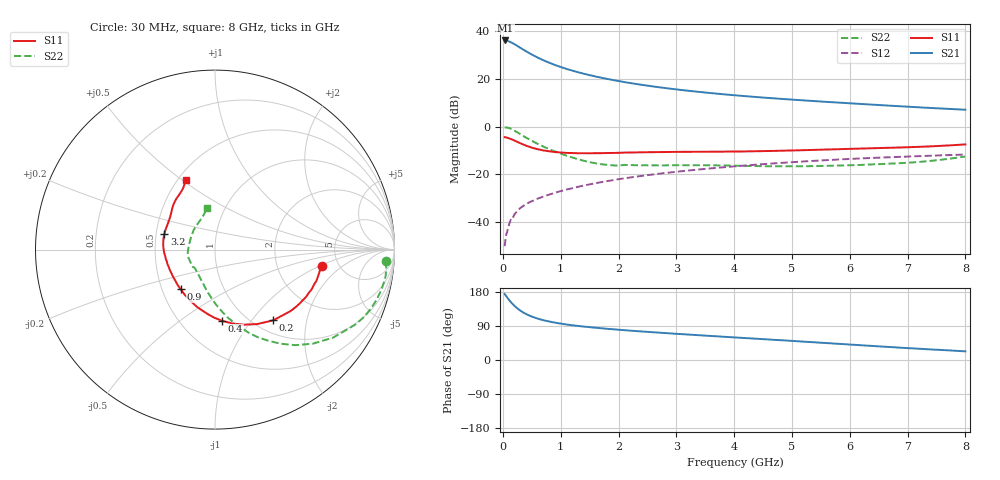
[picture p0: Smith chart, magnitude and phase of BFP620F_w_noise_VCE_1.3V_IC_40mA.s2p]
! Infineon Technologies  Discrete & RF Semiconductors
! BFP620F
! VCE =  1.3 V,  IC =  40 mA
! Common Emitter S-Parameters:  Dec 2014
# GHz  S  MA  R  50
!  f  S11  S21  S12  S22
! GHz  MAG  ANG  MAG  ANG  MAG  ANG  MAG  ANG
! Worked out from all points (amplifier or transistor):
!   95 points, 30 MHz to 8 GHz, reference 50 ohm
!   highest |S21| = 36.1 dB at 40 MHz (marker M1)
!   |S21| within 3 dB of that: start of sweep to 297.3 MHz
!   unconditionally stable (mu >= 1): 2.183 GHz to end of sweep
!   at 300 MHz: K = 0.45, MSG = 33.6 dB, |S12| = -34.2 dB
!   at 3.3 GHz: K = 1.03, MAG = 15.5 dB, |S12| = -18.2 dB
!   at 8 GHz: K = 1.05, MAG = 8.0 dB, |S12| = -11.7 dB
!   lowest NFmin = 1.36 dB at 450 MHz
!   S11 on the Smith chart (normalised r, x): 30 MHz: 3.69, -1.05; 200 MHz: 1.21, -1.29; 400 MHz: 0.78, -0.73; 900 MHz: 0.62, -0.30; 3.2 GHz: 0.55, +0.10; 8 GHz: 0.55, +0.52
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0.03  0.6004 -8.7  63.99 174.3  0.0031 91.0  0.9556 -3.9
0.04  0.5958 -11.4  64.01 172.1  0.0038 95.5  0.9595 -6.2
0.08  0.5824 -22.2  62.79 163.8  0.0067 81.8  0.9492 -14.9
0.11  0.5647 -29.9  60.69 157.8  0.0093 80.6  0.9265 -21.1
0.15  0.541 -39.6  57.7 150.8  0.0109 75.8  0.8829 -28.5
0.2  0.5104 -50.5  53.37 143.0  0.0143 70.1  0.8208 -36.7
0.25  0.4775 -60.3  49.13 136.3  0.0171 70.4  0.7568 -43.8
0.3  0.4484 -69.0  45.11 130.5  0.0195 66.4  0.6951 -50.0
0.4  0.3986 -84.3  38.02 121.4  0.0235 66.2  0.5868 -59.8
0.5  0.3613 -96.5  32.42 114.6  0.0272 65.6  0.5026 -67.7
0.6  0.3354 -107.2  28.04 109.3  0.0307 64.6  0.4344 -74.2
0.7  0.3159 -116.0  24.61 105.0  0.0341 64.7  0.3808 -79.9
0.9  0.292 -130.7  19.61 98.6  0.0409 65.1  0.3008 -89.7
1.1  0.2803 -142.4  16.21 93.7  0.0478 64.9  0.2453 -98.8
1.4  0.2762 -155.8  12.84 88.2  0.058 64.7  0.1919 -112.3
1.9  0.2796 -171.9  9.483 81.2  0.075 63.5  0.1537 -135.4
2.7  0.2919 171.1  6.687 72.2  0.1025 59.7  0.1534 -157.2
3.2  0.295 163.0  5.652 67.2  0.1195 57.0  0.1546 -165.4
4.1  0.3003 150.7  4.441 58.7  0.1495 51.3  0.1503 -177.9
5.4  0.3247 137.9  3.416 46.6  0.1916 42.2  0.1485 157.3
6.7  0.3594 125.6  2.742 34.2  0.2276 32.3  0.1671 130.4
8  0.4229 112.8  2.255 22.8  0.2589 22.7  0.2357 100.5
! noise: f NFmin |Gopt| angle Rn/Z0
0.45  1.36  0.16  -173  0.16
0.9  1.38  0.16  -172  0.13
1.5  1.39  0.21  -152  0.11
1.8  1.4  0.21  -151  0.11
1.9  1.41  0.21  -150  0.11
2.4  1.43  0.21  214  0.13
3.5  1.49  0.22  220  0.17
5.5  1.63  0.27  247  0.17
6  1.67  0.28  261  0.2
